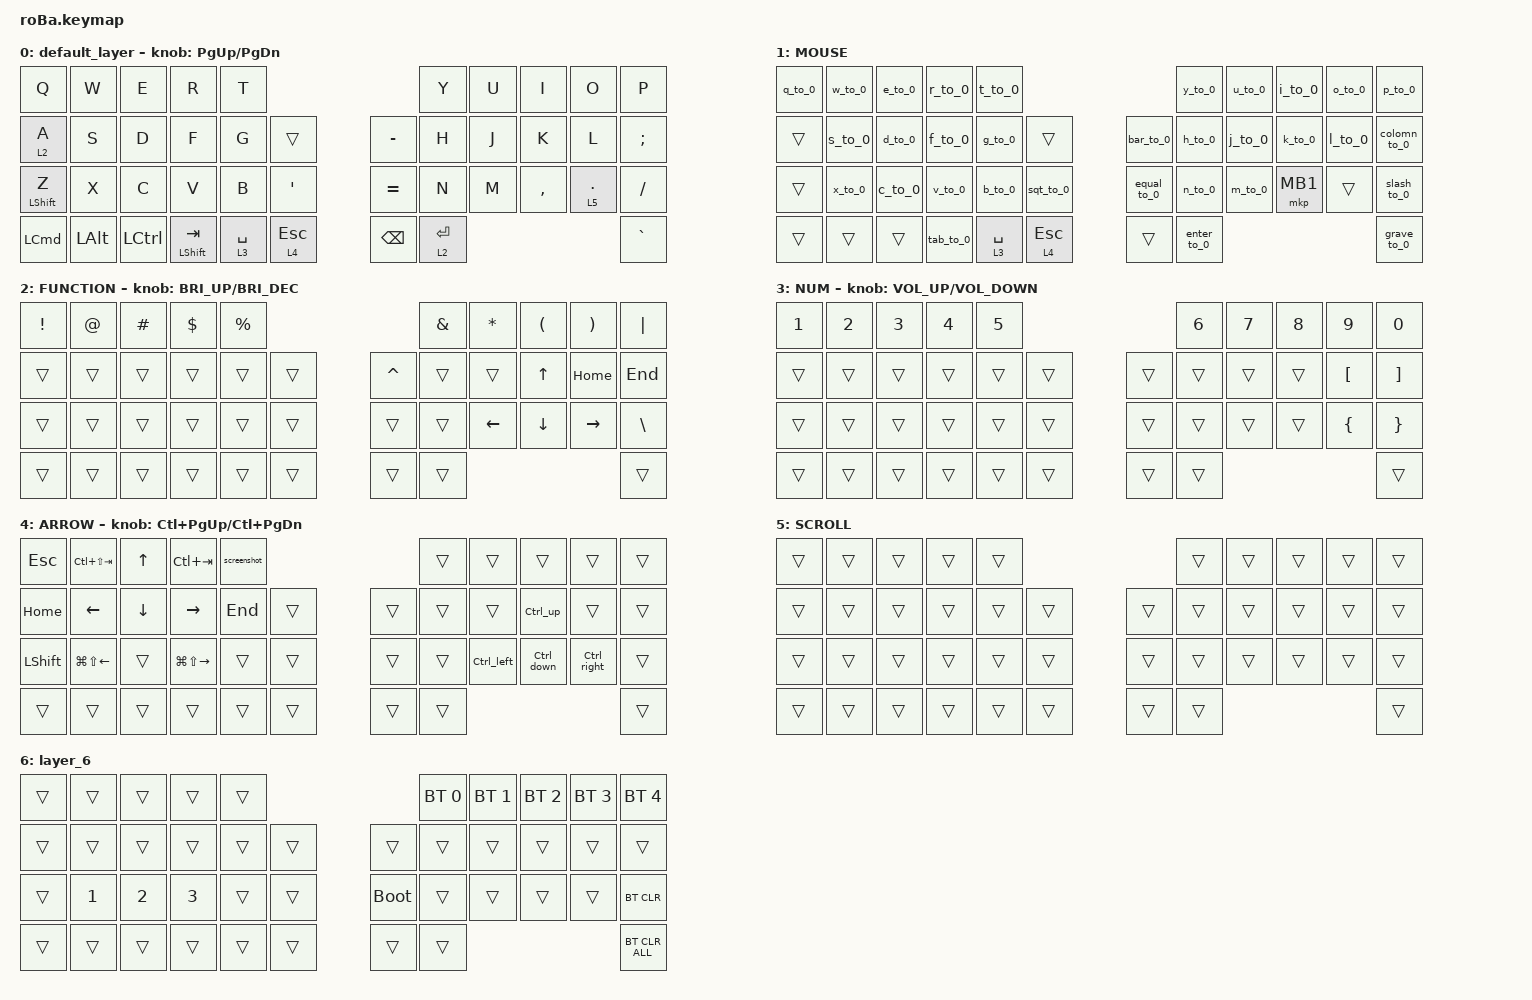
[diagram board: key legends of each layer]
#include <behaviors.dtsi>
#include <dt-bindings/zmk/bt.h>
#include <dt-bindings/zmk/keys.h>
#include <dt-bindings/zmk/pointing.h>

&mt {
    flavor = "balanced";
    quick-tap-ms = <0>;
};

/ {
    combos {
        compatible = "zmk,combos";

        tab {
            bindings = <&kp TAB>;
            key-positions = <11 12>;
        };

        shift_tab {
            bindings = <&kp LS(TAB)>;
            key-positions = <12 13>;
        };

        muhennkann {
            bindings = <&to_layer_0 INT_MUHENKAN>;
            key-positions = <11 10>;
        };

        double_quotation {
            bindings = <&kp SQT>;
            key-positions = <20 21>;
        };

        eq {
            bindings = <&kp EQUAL>;
            key-positions = <24 25>;
        };

        rclk {
            bindings = <&mkp RCLK>;
            key-positions = <31 32>;
        };
    };

    macros {
        to_layer_0: to_layer_0 {
            compatible = "zmk,behavior-macro-one-param";
            #binding-cells = <1>;
            bindings = <&to 0 &macro_param_1to1 &kp MACRO_PLACEHOLDER>;
            label = "TO_LAYER_0";
        };

        Ctrl_up: Ctrl_up {
            compatible = "zmk,behavior-macro";
            #binding-cells = <0>;
            bindings = <&kp LCTRL &kp UP_ARROW>;
            label = "CTRL_UP";
        };

        Ctrl_down: Ctrl_down {
            compatible = "zmk,behavior-macro";
            #binding-cells = <0>;
            bindings = <&kp LEFT_CONTROL &kp DOWN>;
            label = "CTRL_DOWN";
        };

        Ctrl_left: Ctrl_left {
            compatible = "zmk,behavior-macro";
            #binding-cells = <0>;
            bindings = <&kp LEFT_CONTROL &kp LEFT>;
            label = "CTRL_LEFT";
        };

        Ctrl_right: Ctrl_right {
            compatible = "zmk,behavior-macro";
            #binding-cells = <0>;
            bindings = <&kp LEFT_CONTROL &kp RIGHT>;
            label = "CTRL_RIGHT";
        };

        screenshot: screenshot {
            compatible = "zmk,behavior-macro";
            #binding-cells = <0>;
            bindings = <&kp LEFT_COMMAND &kp LEFT_SHIFT &kp N5>;
            label = "SCREENSHOT";
        };

        a_to_l0: a_to_l1 {
            compatible = "zmk,behavior-macro";
            #binding-cells = <0>;
            bindings = <&to 0 &lt 2 A>;
            label = "A_TO_L1";
        };

        b_to_0: b_to_0 {
            compatible = "zmk,behavior-macro";
            #binding-cells = <0>;
            bindings = <&kp B &to 0>;
            label = "B_TO_0";
        };

        c_to_0: c_to_0 {
            compatible = "zmk,behavior-macro";
            #binding-cells = <0>;
            bindings = <&kp C &to 0>;
            label = "C_TO_0";
        };

        d_to_0: d_to_0 {
            compatible = "zmk,behavior-macro";
            #binding-cells = <0>;
            bindings = <&kp D &to 0>;
            label = "D_TO_0";
        };

        e_to_0: e_to_0 {
            compatible = "zmk,behavior-macro";
            #binding-cells = <0>;
            bindings = <&kp E &to 0>;
            label = "E_TO_0";
        };

        f_to_0: f_to_0 {
            compatible = "zmk,behavior-macro";
            #binding-cells = <0>;
            bindings = <&kp F &to 0>;
            label = "F_TO_0";
        };

        g_to_0: g_to_0 {
            compatible = "zmk,behavior-macro";
            #binding-cells = <0>;
            bindings = <&kp G &to 0>;
            label = "G_TO_0";
        };

        h_to_0: h_to_0 {
            compatible = "zmk,behavior-macro";
            #binding-cells = <0>;
            bindings = <&kp H &to 0>;
            label = "H_TO_0";
        };

        i_to_0: i_to_0 {
            compatible = "zmk,behavior-macro";
            #binding-cells = <0>;
            bindings = <&kp I &to 0>;
            label = "I_TO_0";
        };

        j_to_0: j_to_0 {
            compatible = "zmk,behavior-macro";
            #binding-cells = <0>;
            bindings = <&kp J &to 0>;
            label = "J_TO_0";
        };

        k_to_0: k_to_0 {
            compatible = "zmk,behavior-macro";
            #binding-cells = <0>;
            bindings = <&kp K &to 0>;
            label = "K_TO_0";
        };

        l_to_0: l_to_0 {
            compatible = "zmk,behavior-macro";
            #binding-cells = <0>;
            bindings = <&kp L &to 0>;
            label = "L_TO_0";
        };

        m_to_0: m_to_0 {
            compatible = "zmk,behavior-macro";
            #binding-cells = <0>;
            bindings = <&kp M &to 0>;
            label = "M_TO_0";
        };

        n_to_0: n_to_0 {
            compatible = "zmk,behavior-macro";
            #binding-cells = <0>;
            bindings = <&kp N &to 0>;
            label = "N_TO_0";
        };

        o_to_0: o_to_0 {
            compatible = "zmk,behavior-macro";
            #binding-cells = <0>;
            bindings = <&kp O &to 0>;
            label = "O_TO_0";
        };

        p_to_0: p_to_0 {
            compatible = "zmk,behavior-macro";
            #binding-cells = <0>;
            bindings = <&kp P &to 0>;
            label = "P_TO_0";
        };

        q_to_0: q_to_0 {
            compatible = "zmk,behavior-macro";
            #binding-cells = <0>;
            bindings = <&kp Q &to 0>;
            label = "Q_TO_0";
        };

        r_to_0: r_to_0 {
            compatible = "zmk,behavior-macro";
            #binding-cells = <0>;
            bindings = <&kp R &to 0>;
            label = "R_TO_0";
        };

        s_to_0: s_to_0 {
            compatible = "zmk,behavior-macro";
            #binding-cells = <0>;
            bindings = <&kp S &to 0>;
            label = "S_TO_0";
        };

        t_to_0: t_to_0 {
            compatible = "zmk,behavior-macro";
            #binding-cells = <0>;
            bindings = <&kp T &to 0>;
            label = "T_TO_0";
        };

        u_to_0: u_to_0 {
            compatible = "zmk,behavior-macro";
            #binding-cells = <0>;
            bindings = <&kp U &to 0>;
            label = "U_TO_0";
        };

        v_to_0: v_to_0 {
            compatible = "zmk,behavior-macro";
            #binding-cells = <0>;
            bindings = <&kp V &to 0>;
            label = "V_TO_0";
        };

        w_to_0: w_to_0 {
            compatible = "zmk,behavior-macro";
            #binding-cells = <0>;
            bindings = <&kp W &to 0>;
            label = "W_TO_0";
        };

        x_to_0: x_to_0 {
            compatible = "zmk,behavior-macro";
            #binding-cells = <0>;
            bindings = <&kp X &to 0>;
            label = "X_TO_0";
        };

        y_to_0: y_to_0 {
            compatible = "zmk,behavior-macro";
            #binding-cells = <0>;
            bindings = <&kp Y &to 0>;
            label = "Y_TO_0";
        };

        z_to_0: z_to_0 {
            compatible = "zmk,behavior-macro";
            #binding-cells = <0>;
            bindings = <&kp Z &to 0>;
            label = "Z_TO_0";
        };

        dot_to_0: dot_to_0 {
            compatible = "zmk,behavior-macro";
            #binding-cells = <0>;
            bindings = <&kp DOT &to 0>;
            label = "DOT_TO_0";
        };

        slash_to_0: slash_to_0 {
            compatible = "zmk,behavior-macro";
            #binding-cells = <0>;
            bindings = <&kp SLASH &to 0>;
            label = "SLASH_TO_0";
        };

        grave_to_0: backdot_to_0 {
            compatible = "zmk,behavior-macro";
            #binding-cells = <0>;
            bindings = <&kp GRAVE &to 0>;
            label = "BACKDOT_TO_0";
        };

        equal_to_0: equal_to_0 {
            compatible = "zmk,behavior-macro";
            #binding-cells = <0>;
            bindings = <&kp EQUAL &to 0>;
            label = "EQUAL_TO_0";
        };

        bar_to_0: bar_to_0 {
            compatible = "zmk,behavior-macro";
            #binding-cells = <0>;
            bindings = <&kp MINUS &to 0>;
            label = "BAR_TO_0";
        };

        colomn_to_0: colomn_to_0 {
            compatible = "zmk,behavior-macro";
            #binding-cells = <0>;
            bindings = <&kp SEMICOLON &to 0>;
            label = "COLOMN_TO_0";
        };

        sqt_to_0: hat_to_0 {
            compatible = "zmk,behavior-macro";
            #binding-cells = <0>;
            bindings = <&kp SQT &to 0>;
            label = "HAT_TO_0";
        };

        enter_to_0: enter_to_0 {
            compatible = "zmk,behavior-macro";
            #binding-cells = <0>;
            bindings = <&kp ENTER &to 0>;
            label = "ENTER_TO_0";
        };

        shift_to_0: shift_to_0 {
            compatible = "zmk,behavior-macro";
            #binding-cells = <0>;
            bindings = <&kp LEFT_SHIFT &to 0>;
            label = "SHIFT_TO_0";
        };

        tab_to_0: tab_to_0 {
            compatible = "zmk,behavior-macro";
            #binding-cells = <0>;
            bindings = <&kp TAB &to 0>;
            label = "TAB_TO_0";
        };

        back_to_0: back_to_0 {
            compatible = "zmk,behavior-macro";
            #binding-cells = <0>;
            bindings = <&kp BACKSPACE &to 0>;
            label = "BACK_TO_0";
        };
    };

    behaviors {
        lt_to_layer_0: lt_to_layer_0 {
            compatible = "zmk,behavior-hold-tap";
            label = "LAYER_TAP_TO_0";
            bindings = <&mo>, <&to_layer_0>;

            #binding-cells = <2>;
            tapping-term-ms = <200>;
        };
    };

    keymap {
        compatible = "zmk,keymap";

        default_layer {
            bindings = <
&kp Q             &kp W         &kp E             &kp R               &kp T                                                    &kp Y        &kp U  &kp I      &kp O      &kp P
&lt 2 A           &kp S         &kp D             &kp F               &kp G        &trans                       &kp MINUS      &kp H        &kp J  &kp K      &kp L      &kp SEMI
&mt LEFT_SHIFT Z  &kp X         &kp C             &kp V               &kp B        &kp SQT                      &kp EQUAL      &kp N        &kp M  &kp COMMA  &lt 5 DOT  &kp SLASH
&kp LEFT_COMMAND  &kp LEFT_ALT  &kp LEFT_CONTROL  &mt LEFT_SHIFT TAB  &lt 3 SPACE  &lt_to_layer_0 4 ESCAPE      &kp BACKSPACE  &lt 2 ENTER                               &kp GRAVE
            >;

            sensor-bindings = <&inc_dec_kp PG_UP PAGE_DOWN>;
        };

        MOUSE {
            bindings = <
&q_to_0  &w_to_0  &e_to_0  &r_to_0    &t_to_0                                     &y_to_0      &u_to_0  &i_to_0   &o_to_0  &p_to_0
&trans   &s_to_0  &d_to_0  &f_to_0    &g_to_0      &trans            &bar_to_0    &h_to_0      &j_to_0  &k_to_0   &l_to_0  &colomn_to_0
&trans   &x_to_0  &c_to_0  &v_to_0    &b_to_0      &sqt_to_0         &equal_to_0  &n_to_0      &m_to_0  &mkp MB1  &trans   &slash_to_0
&trans   &trans   &trans   &tab_to_0  &lt 3 SPACE  &lt 4 ESCAPE      &trans       &enter_to_0                              &grave_to_0
            >;
        };

        FUNCTION {
            bindings = <
&kp EXCLAMATION  &kp AT_SIGN  &kp HASH  &kp DOLLAR  &kp PERCENT                         &kp AMPERSAND  &kp ASTERISK    &kp LEFT_PARENTHESIS  &kp RIGHT_PARENTHESIS  &kp PIPE
&trans           &trans       &trans    &trans      &trans       &trans      &kp CARET  &trans         &trans          &kp UP_ARROW          &kp HOME               &kp END
&trans           &trans       &trans    &trans      &trans       &trans      &trans     &trans         &kp LEFT_ARROW  &kp DOWN_ARROW        &kp RIGHT_ARROW        &kp BACKSLASH
&trans           &trans       &trans    &trans      &trans       &trans      &trans     &trans                                                                      &trans
            >;

            sensor-bindings = <&inc_dec_kp C_BRI_UP C_BRIGHTNESS_DEC>;
        };

        NUM {
            bindings = <
&kp NUMBER_1  &kp NUMBER_2  &kp NUMBER_3  &kp NUMBER_4  &kp NUMBER_5                      &kp NUMBER_6  &kp NUMBER_7  &kp NUMBER_8  &kp NUMBER_9      &kp NUMBER_0
&trans        &trans        &trans        &trans        &trans        &trans      &trans  &trans        &trans        &trans        &kp LEFT_BRACKET  &kp RIGHT_BRACKET
&trans        &trans        &trans        &trans        &trans        &trans      &trans  &trans        &trans        &trans        &kp LEFT_BRACE    &kp RIGHT_BRACE
&trans        &trans        &trans        &trans        &trans        &trans      &trans  &trans                                                      &trans
            >;

            sensor-bindings = <&inc_dec_kp C_VOLUME_UP C_VOLUME_DOWN>;
        };

        ARROW {
            bindings = <
&kp ESCAPE      &kp LC(LS(TAB))         &kp UP_ARROW    &kp LC(TAB)              &screenshot                      &trans  &trans      &trans      &trans       &trans
&kp HOME        &kp LEFT_ARROW          &kp DOWN_ARROW  &kp RIGHT_ARROW          &kp END      &trans      &trans  &trans  &trans      &Ctrl_up    &trans       &trans
&kp LEFT_SHIFT  &kp LG(LS(LEFT_ARROW))  &trans          &kp LG(LS(RIGHT_ARROW))  &trans       &trans      &trans  &trans  &Ctrl_left  &Ctrl_down  &Ctrl_right  &trans
&trans          &trans                  &trans          &trans                   &trans       &trans      &trans  &trans                                       &trans
            >;

            sensor-bindings = <&inc_dec_kp LC(PAGE_UP) LC(PAGE_DOWN)>;
        };

        SCROLL {
            bindings = <
&trans  &trans  &trans  &trans  &trans                      &trans  &trans  &trans  &trans  &trans
&trans  &trans  &trans  &trans  &trans  &trans      &trans  &trans  &trans  &trans  &trans  &trans
&trans  &trans  &trans  &trans  &trans  &trans      &trans  &trans  &trans  &trans  &trans  &trans
&trans  &trans  &trans  &trans  &trans  &trans      &trans  &trans                          &trans
            >;
        };

        layer_6 {
            bindings = <
&trans  &trans        &trans        &trans        &trans                           &bt BT_SEL 0  &bt BT_SEL 1  &bt BT_SEL 2  &bt BT_SEL 3  &bt BT_SEL 4
&trans  &trans        &trans        &trans        &trans  &trans      &trans       &trans        &trans        &trans        &trans        &trans
&trans  &kp NUMBER_1  &kp NUMBER_2  &kp NUMBER_3  &trans  &trans      &bootloader  &trans        &trans        &trans        &trans        &bt BT_CLR
&trans  &trans        &trans        &trans        &trans  &trans      &trans       &trans                                                  &bt BT_CLR_ALL
            >;
        };
    };
};
